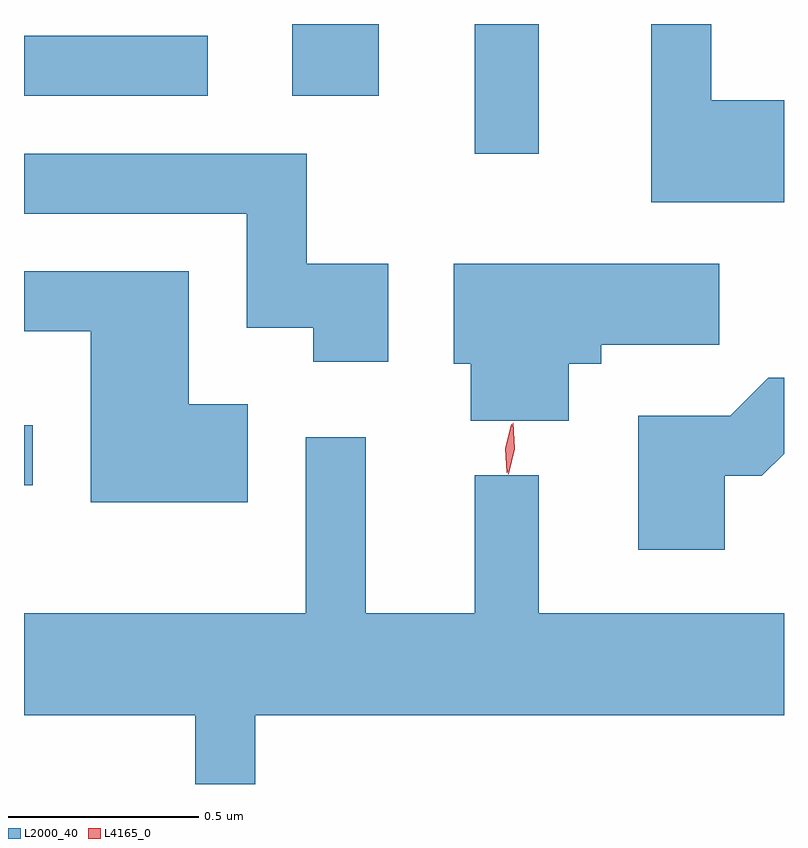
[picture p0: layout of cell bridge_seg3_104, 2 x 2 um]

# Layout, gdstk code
import gdstk
lib = gdstk.Library(unit=1e-6, precision=1e-09)
def R(c, l, rs):  # rectangles x0, y0, x1, y1
    for r in rs: c.add(gdstk.rectangle(r[:2], r[2:], *l))
def P(c, l, *ps):  # polygons
    for p in ps: c.add(gdstk.Polygon(p, *l))
L2000_40 = (2000, 40)
L4165_0 = (4165, 0)

bridge_seg3_104 = lib.new_cell('bridge_seg3_104')
R(bridge_seg3_104, L2000_40, [(947.875,1246.501,947.898,1246.659), (949.061,1247.373,949.229,1247.715), (947.875,1247.526,948.358,1247.684), (948.581,1247.526,948.809,1247.715)])
P(bridge_seg3_104, L2000_40, [(949.875,1247.514),(949.684,1247.514),(949.684,1247.715),(949.526,1247.715),(949.526,1247.246),(949.875,1247.246)],
  [(948.834,1247.084),(948.619,1247.084),(948.619,1247.374),(947.875,1247.374),(947.875,1247.216),(948.461,1247.216),(948.461,1246.916),(948.636,1246.916),(948.636,1246.826),(948.834,1246.826)],
  [(949.309,1246.821),(949.394,1246.821),(949.394,1246.871),(949.704,1246.871),(949.704,1247.084),(949.006,1247.084),(949.006,1246.821),(949.051,1246.821),(949.051,1246.671),(949.309,1246.671)],
  [(948.464,1246.714),(948.309,1246.714),(948.309,1247.064),(947.875,1247.064),(947.875,1246.906),(948.051,1246.906),(948.051,1246.456),(948.464,1246.456)],
  [(949.719,1246.526),(949.817,1246.526),(949.875,1246.584),(949.875,1246.784),(949.834,1246.784),(949.734,1246.684),(949.491,1246.684),(949.491,1246.331),(949.719,1246.331)],
  [(948.484,1245.896),(949.875,1245.896),(949.875,1246.164),(949.229,1246.164),(949.229,1246.528),(949.061,1246.528),(949.061,1246.164),(948.774,1246.164),(948.774,1246.628),(948.616,1246.628),(948.616,1246.164),(947.875,1246.164),(947.875,1245.896),(948.326,1245.896),(948.326,1245.715),(948.484,1245.715)])
P(bridge_seg3_104, L4165_0, [(949.149,1246.53),(949.149,1246.531),(949.146,1246.599),(949.162,1246.666),(949.162,1246.666),(949.163,1246.666),(949.166,1246.597),(949.15,1246.531)],
  [(949.146,1246.534),(949.142,1246.599),(949.157,1246.662),(949.158,1246.662),(949.158,1246.662),(949.162,1246.597),(949.147,1246.534),(949.147,1246.534)])

lib.write_gds('bridge_seg3_104.gds')
